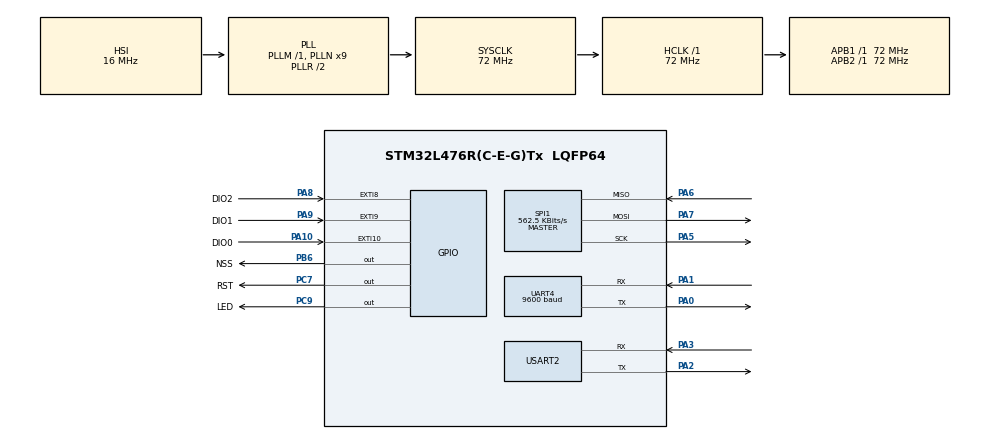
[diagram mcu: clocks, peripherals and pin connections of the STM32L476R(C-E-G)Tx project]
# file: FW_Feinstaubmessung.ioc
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Mcu.Family=STM32L4
Mcu.Name=STM32L476R(C-E-G)Tx
Mcu.Package=LQFP64
NVIC.EXTI15_10_IRQn=true\:0\:0\:false\:false\:true\:true\:true
NVIC.EXTI9_5_IRQn=true\:0\:0\:false\:false\:true\:true\:true
NVIC.PriorityGroup=NVIC_PRIORITYGROUP_4
NVIC.TIM4_IRQn=true\:0\:0\:false\:false\:true\:true\:true
PA0.Mode=Asynchronous
PA0.Signal=UART4_TX
PA1.Mode=Asynchronous
PA1.Signal=UART4_RX
PA10.GPIO_Label=DIO0
PA10.Signal=GPXTI10
PA13\ (JTMS-SWDIO).Mode=Serial_Wire
PA13\ (JTMS-SWDIO).Signal=SYS_JTMS-SWDIO
PA14\ (JTCK-SWCLK).Mode=Serial_Wire
PA14\ (JTCK-SWCLK).Signal=SYS_JTCK-SWCLK
PA2.Mode=Asynchronous
PA2.Signal=USART2_TX
PA3.Mode=Asynchronous
PA3.Signal=USART2_RX
PA5.Mode=Full_Duplex_Master
PA5.Signal=SPI1_SCK
PA6.Mode=Full_Duplex_Master
PA6.Signal=SPI1_MISO
PA7.Mode=Full_Duplex_Master
PA7.Signal=SPI1_MOSI
PA8.GPIO_Label=DIO2
PA8.Signal=GPXTI8
PA9.GPIO_Label=DIO1
PA9.Signal=GPXTI9
PB6.GPIO_Label=NSS
PB6.Signal=GPIO_Output
PC7.GPIO_Label=RST
PC7.Signal=GPIO_Output
PC9.GPIO_Label=LED
PC9.Signal=GPIO_Output
PH0-OSC_IN\ (PH0).Mode=HSE-External-Oscillator
PH0-OSC_IN\ (PH0).Signal=RCC_OSC_IN
PH1-OSC_OUT\ (PH1).Mode=HSE-External-Oscillator
PH1-OSC_OUT\ (PH1).Signal=RCC_OSC_OUT
ProjectManager.HeapSize=0x200
ProjectManager.StackSize=0x400
ProjectManager.TargetToolchain=STM32CubeIDE
RCC.ADCFreq_Value=64000000
RCC.AHBFreq_Value=72000000
RCC.APB1Freq_Value=72000000
RCC.APB1TimFreq_Value=72000000
RCC.APB2Freq_Value=72000000
RCC.APB2TimFreq_Value=72000000
RCC.CortexFreq_Value=72000000
RCC.HCLKFreq_Value=72000000
RCC.HSE_VALUE=8000000
RCC.HSI_VALUE=16000000
RCC.LSE_VALUE=32768
RCC.MSI_VALUE=4000000
RCC.PLLN=9
RCC.PLLSourceVirtual=RCC_PLLSOURCE_HSI
RCC.PREFETCH_ENABLE=1
RCC.SYSCLKFreq_VALUE=72000000
RCC.SYSCLKSource=RCC_SYSCLKSOURCE_PLLCLK
RCC.USBFreq_Value=64000000
RCC.VCOOutputFreq_Value=144000000
SPI1.BaudRatePrescaler=SPI_BAUDRATEPRESCALER_128
SPI1.CalculateBaudRate=562.5 KBits/s
SPI1.DataSize=SPI_DATASIZE_8BIT
SPI1.Direction=SPI_DIRECTION_2LINES
SPI1.Mode=SPI_MODE_MASTER
SPI1.VirtualType=VM_MASTER
TIM4.Channel-Output\ Compare1\ No\ Output=TIM_CHANNEL_1
TIM4.Period=65535-1
TIM4.Prescaler=2250-1
UART4.BaudRate=9600
USART2.VirtualMode-Asynchronous=VM_ASYNC
VP_TIM4_VS_no_output1.Mode=Output Compare1 No Output
board=NUCLEO-L476RG

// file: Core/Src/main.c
/* USER CODE BEGIN Header */
/**
  ******************************************************************************
  * @file           : main.c
  * @brief          : Main program body
  ******************************************************************************
  * @attention
  *
  * <h2><center>&copy; Copyright (c) 2019 STMicroelectronics.
  * All rights reserved.</center></h2>
  *
  * This software component is licensed by ST under BSD 3-Clause license,
  * the "License"; You may not use this file except in compliance with the
  * License. You may obtain a copy of the License at:
  *                        opensource.org/licenses/BSD-3-Clause
  *
  ******************************************************************************
  */
/* USER CODE END Header */

#include "main.h"

/* USER CODE BEGIN Includes */
#include "lmic.h"
#include "debug.h"
#include "stm32hpmlib.h"
#include "user_config.h"
/* USER CODE END Includes */

/* USER CODE END PV */

void SystemClock_Config(void);
static void MX_GPIO_Init(void);
static void MX_SPI1_Init(void);
static void MX_TIM4_Init(void);
static void MX_USART2_UART_Init(void);
static void MX_UART4_Init(void);

/* USER CODE BEGIN 0 */

// provide application router ID (8 bytes, LSBF)
void os_getArtEui (u1_t* buf) {
    memcpy(buf, APPEUI, 8);
}

// provide device ID (8 bytes, LSBF)
void os_getDevEui (u1_t* buf) {
    memcpy(buf, DEVEUI, 8);
}

// provide device key (16 bytes)
void os_getDevKey (u1_t* buf) {
    memcpy(buf, DEVKEY, 16);
}

void initfunc (osjob_t* j) {
    // reset MAC state
    LMIC_reset();
    // start joining
    LMIC_startJoining();
    // init done - onEvent() callback will be invoked...
}

static osjob_t reportjob;

static void reportfunc (osjob_t* j) {

    // read sensors
	int pm25 = 0;
	int pm10 = 0;
	hpmStartParticleMeasurement();
	HAL_Delay(measure);
	hpmReadResults(&pm25,&pm10);
	hpmStopParticleMeasurement();

    // prepare and schedule data for transmission
    LMIC.frame[0] = pm25 >> 8;
    LMIC.frame[1] = pm25;
    LMIC.frame[2] = pm10 >> 8;
    LMIC.frame[3] = pm10;

    // send data
    LMIC_setTxData2(1, LMIC.frame, 4, 0); // (port 1, 4 bytes, unconfirmed)

    // reschedule job
    os_setTimedCallback(j, os_getTime()+sec2osticks(interval), reportfunc);
}

//////////////////////////////////////////////////
// LMIC EVENT CALLBACK
//////////////////////////////////////////////////

void onEvent (ev_t ev) {
    debug_event(ev);

    switch(ev) {

      // network joined, session established
      case EV_JOINING:
       	  debug_str("try joining\r\n");
       	  break;
      case EV_JOINED:
          //debug_led(1);
    	  debug_str("joined\r\n");
          // kick-off periodic sensor job
          reportfunc(&reportjob);
          break;
      case EV_JOIN_FAILED:
    	  debug_str("join failed\r\n");
    	  break;
      case EV_SCAN_TIMEOUT:
    	  debug_str("EV_SCAN_TIMEOUT\r\n");
		  break;
	  case EV_BEACON_FOUND:
		  debug_str("EV_BEACON_FOUND\r\n");
		  break;
	  case EV_BEACON_MISSED:
		  debug_str("EV_BEACON_MISSED\r\n");
		  break;
	  case EV_BEACON_TRACKED:
		  debug_str("EV_BEACON_TRACKED\r\n");
		  break;
	  case EV_RFU1:
		  debug_str("EV_RFU1\r\n");
		  break;
	  case EV_REJOIN_FAILED:
		  debug_str("EV_REJOIN_FAILED\r\n");
		  break;
	  case EV_TXCOMPLETE:
		  debug_str("EV_TXCOMPLETE (includes waiting for RX windows)\r\n");
		  if (LMIC.txrxFlags & TXRX_ACK)
			  debug_str("Received ack\r\n");
		  if (LMIC.dataLen) {
			  debug_str("Received ");
			  //debug_str(LMIC.dataLen);
			  debug_str(" bytes of payload\r\n");
		  }
		  break;
	  case EV_LOST_TSYNC:
		  debug_str("EV_LOST_TSYNC\r\n");
		  break;
	  case EV_RESET:
		  debug_str("EV_RESET\r\n");
		  break;
	  case EV_RXCOMPLETE:
		  // data received in ping slot
		  debug_str("EV_RXCOMPLETE\r\n");
		  break;
	  case EV_LINK_DEAD:
		  debug_str("EV_LINK_DEAD\r\n");
		  break;
	  case EV_LINK_ALIVE:
		  debug_str("EV_LINK_ALIVE\r\n");
		  break;
	  default:
		   debug_str("\r\n");
		  break;
    }
}
/* USER CODE END 0 */

int main(void)
{

  /* MCU Configuration--------------------------------------------------------*/

  /* Reset of all peripherals, Initializes the Flash interface and the Systick. */
  HAL_Init();

  /* Configure the system clock */
  SystemClock_Config();

  /* Initialize all configured peripherals */
  MX_GPIO_Init();
  MX_SPI1_Init();
  MX_TIM4_Init();
  MX_USART2_UART_Init();
  MX_UART4_Init();
  /* USER CODE BEGIN 2 */
  HAL_TIM_Base_Start_IT(&htim4);    // <-----------  change to your setup
  __HAL_SPI_ENABLE(&hspi1);         // <-----------  change to your setup

  osjob_t initjob;

  // initialize runtime env
  os_init();

  // initialize debug library
  debug_init();

  // Configure UART for Air-Sensor
  debug_str("Configuring Sensor\r\n");
  hpmSetUart(&huart4);
  hpmStopAutoSend();
  hpmStopParticleMeasurement();
  // setup initial job
   os_setCallback(&initjob, initfunc);
  // execute scheduled jobs and events
  os_runloop();
  // (not reached)
  return 0;

  /* USER CODE END 2 */

  /* Infinite loop */
  while (1)
  {

  }
}

void SystemClock_Config(void)
{
  RCC_OscInitTypeDef RCC_OscInitStruct = {0};
  RCC_ClkInitTypeDef RCC_ClkInitStruct = {0};
  RCC_PeriphCLKInitTypeDef PeriphClkInit = {0};

  /** Initializes the CPU, AHB and APB busses clocks
  */
  RCC_OscInitStruct.OscillatorType = RCC_OSCILLATORTYPE_HSI;
  RCC_OscInitStruct.HSIState = RCC_HSI_ON;
  RCC_OscInitStruct.HSICalibrationValue = RCC_HSICALIBRATION_DEFAULT;
  RCC_OscInitStruct.PLL.PLLState = RCC_PLL_ON;
  RCC_OscInitStruct.PLL.PLLSource = RCC_PLLSOURCE_HSI;
  RCC_OscInitStruct.PLL.PLLM = 1;
  RCC_OscInitStruct.PLL.PLLN = 9;
  RCC_OscInitStruct.PLL.PLLP = RCC_PLLP_DIV7;
  RCC_OscInitStruct.PLL.PLLQ = RCC_PLLQ_DIV2;
  RCC_OscInitStruct.PLL.PLLR = RCC_PLLR_DIV2;
  if (HAL_RCC_OscConfig(&RCC_OscInitStruct) != HAL_OK)
  {
    Error_Handler();
  }
  /** Initializes the CPU, AHB and APB busses clocks
  */
  RCC_ClkInitStruct.ClockType = RCC_CLOCKTYPE_HCLK|RCC_CLOCKTYPE_SYSCLK
                              |RCC_CLOCKTYPE_PCLK1|RCC_CLOCKTYPE_PCLK2;
  RCC_ClkInitStruct.SYSCLKSource = RCC_SYSCLKSOURCE_PLLCLK;
  RCC_ClkInitStruct.AHBCLKDivider = RCC_SYSCLK_DIV1;
  RCC_ClkInitStruct.APB1CLKDivider = RCC_HCLK_DIV1;
  RCC_ClkInitStruct.APB2CLKDivider = RCC_HCLK_DIV1;

  if (HAL_RCC_ClockConfig(&RCC_ClkInitStruct, FLASH_LATENCY_4) != HAL_OK)
  {
    Error_Handler();
  }
  PeriphClkInit.PeriphClockSelection = RCC_PERIPHCLK_USART2|RCC_PERIPHCLK_UART4;
  PeriphClkInit.Usart2ClockSelection = RCC_USART2CLKSOURCE_PCLK1;
  PeriphClkInit.Uart4ClockSelection = RCC_UART4CLKSOURCE_PCLK1;
  if (HAL_RCCEx_PeriphCLKConfig(&PeriphClkInit) != HAL_OK)
  {
    Error_Handler();
  }
  /** Configure the main internal regulator output voltage
  */
  if (HAL_PWREx_ControlVoltageScaling(PWR_REGULATOR_VOLTAGE_SCALE1) != HAL_OK)
  {
    Error_Handler();
  }
}

static void MX_SPI1_Init(void)
{

  /* SPI1 parameter configuration*/
  hspi1.Instance = SPI1;
  hspi1.Init.Mode = SPI_MODE_MASTER;
  hspi1.Init.Direction = SPI_DIRECTION_2LINES;
  hspi1.Init.DataSize = SPI_DATASIZE_8BIT;
  hspi1.Init.CLKPolarity = SPI_POLARITY_LOW;
  hspi1.Init.CLKPhase = SPI_PHASE_1EDGE;
  hspi1.Init.NSS = SPI_NSS_SOFT;
  hspi1.Init.BaudRatePrescaler = SPI_BAUDRATEPRESCALER_128;
  hspi1.Init.FirstBit = SPI_FIRSTBIT_MSB;
  hspi1.Init.TIMode = SPI_TIMODE_DISABLE;
  hspi1.Init.CRCCalculation = SPI_CRCCALCULATION_DISABLE;
  hspi1.Init.CRCPolynomial = 7;
  hspi1.Init.CRCLength = SPI_CRC_LENGTH_DATASIZE;
  hspi1.Init.NSSPMode = SPI_NSS_PULSE_ENABLE;
  if (HAL_SPI_Init(&hspi1) != HAL_OK)
  {
    Error_Handler();
  }

}

static void MX_TIM4_Init(void)
{

  TIM_MasterConfigTypeDef sMasterConfig = {0};
  TIM_OC_InitTypeDef sConfigOC = {0};

  htim4.Instance = TIM4;
  htim4.Init.Prescaler = 2250-1;
  htim4.Init.CounterMode = TIM_COUNTERMODE_UP;
  htim4.Init.Period = 65535-1;
  htim4.Init.ClockDivision = TIM_CLOCKDIVISION_DIV1;
  htim4.Init.AutoReloadPreload = TIM_AUTORELOAD_PRELOAD_DISABLE;
  if (HAL_TIM_OC_Init(&htim4) != HAL_OK)
  {
    Error_Handler();
  }
  sMasterConfig.MasterOutputTrigger = TIM_TRGO_RESET;
  sMasterConfig.MasterSlaveMode = TIM_MASTERSLAVEMODE_DISABLE;
  if (HAL_TIMEx_MasterConfigSynchronization(&htim4, &sMasterConfig) != HAL_OK)
  {
    Error_Handler();
  }
  sConfigOC.OCMode = TIM_OCMODE_TIMING;
  sConfigOC.Pulse = 0;
  sConfigOC.OCPolarity = TIM_OCPOLARITY_HIGH;
  sConfigOC.OCFastMode = TIM_OCFAST_DISABLE;
  if (HAL_TIM_OC_ConfigChannel(&htim4, &sConfigOC, TIM_CHANNEL_1) != HAL_OK)
  {
    Error_Handler();
  }

}

static void MX_UART4_Init(void)
{

  huart4.Instance = UART4;
  huart4.Init.BaudRate = 9600;
  huart4.Init.WordLength = UART_WORDLENGTH_8B;
  huart4.Init.StopBits = UART_STOPBITS_1;
  huart4.Init.Parity = UART_PARITY_NONE;
  huart4.Init.Mode = UART_MODE_TX_RX;
  huart4.Init.HwFlowCtl = UART_HWCONTROL_NONE;
  huart4.Init.OverSampling = UART_OVERSAMPLING_16;
  huart4.Init.OneBitSampling = UART_ONE_BIT_SAMPLE_DISABLE;
  huart4.AdvancedInit.AdvFeatureInit = UART_ADVFEATURE_NO_INIT;
  if (HAL_UART_Init(&huart4) != HAL_OK)
  {
    Error_Handler();
  }

}

static void MX_USART2_UART_Init(void)
{

  huart2.Instance = USART2;
  huart2.Init.BaudRate = 115200;
  huart2.Init.WordLength = UART_WORDLENGTH_8B;
  huart2.Init.StopBits = UART_STOPBITS_1;
  huart2.Init.Parity = UART_PARITY_NONE;
  huart2.Init.Mode = UART_MODE_TX_RX;
  huart2.Init.HwFlowCtl = UART_HWCONTROL_NONE;
  huart2.Init.OverSampling = UART_OVERSAMPLING_16;
  huart2.Init.OneBitSampling = UART_ONE_BIT_SAMPLE_DISABLE;
  huart2.AdvancedInit.AdvFeatureInit = UART_ADVFEATURE_NO_INIT;
  if (HAL_UART_Init(&huart2) != HAL_OK)
  {
    Error_Handler();
  }

}

static void MX_GPIO_Init(void)
{
  GPIO_InitTypeDef GPIO_InitStruct = {0};

  /* GPIO Ports Clock Enable */
  __HAL_RCC_GPIOH_CLK_ENABLE();
  __HAL_RCC_GPIOA_CLK_ENABLE();
  __HAL_RCC_GPIOC_CLK_ENABLE();
  __HAL_RCC_GPIOB_CLK_ENABLE();

  /*Configure GPIO pin Output Level */
  HAL_GPIO_WritePin(GPIOC, RST_Pin|LED_Pin, GPIO_PIN_RESET);

  /*Configure GPIO pin Output Level */
  HAL_GPIO_WritePin(NSS_GPIO_Port, NSS_Pin, GPIO_PIN_RESET);

  /*Configure GPIO pins : RST_Pin LED_Pin */
  GPIO_InitStruct.Pin = RST_Pin|LED_Pin;
  GPIO_InitStruct.Mode = GPIO_MODE_OUTPUT_PP;
  GPIO_InitStruct.Pull = GPIO_NOPULL;
  GPIO_InitStruct.Speed = GPIO_SPEED_FREQ_LOW;
  HAL_GPIO_Init(GPIOC, &GPIO_InitStruct);

  /*Configure GPIO pins : DIO2_Pin DIO1_Pin DIO0_Pin */
  GPIO_InitStruct.Pin = DIO2_Pin|DIO1_Pin|DIO0_Pin;
  GPIO_InitStruct.Mode = GPIO_MODE_IT_RISING;
  GPIO_InitStruct.Pull = GPIO_NOPULL;
  HAL_GPIO_Init(GPIOA, &GPIO_InitStruct);

  /*Configure GPIO pin : NSS_Pin */
  GPIO_InitStruct.Pin = NSS_Pin;
  GPIO_InitStruct.Mode = GPIO_MODE_OUTPUT_PP;
  GPIO_InitStruct.Pull = GPIO_NOPULL;
  GPIO_InitStruct.Speed = GPIO_SPEED_FREQ_LOW;
  HAL_GPIO_Init(NSS_GPIO_Port, &GPIO_InitStruct);

  /* EXTI interrupt init*/
  HAL_NVIC_SetPriority(EXTI9_5_IRQn, 0, 0);
  HAL_NVIC_EnableIRQ(EXTI9_5_IRQn);

  HAL_NVIC_SetPriority(EXTI15_10_IRQn, 0, 0);
  HAL_NVIC_EnableIRQ(EXTI15_10_IRQn);

}

void Error_Handler(void)
{
}

/************************ (C) COPYRIGHT STMicroelectronics *****END OF FILE****/
